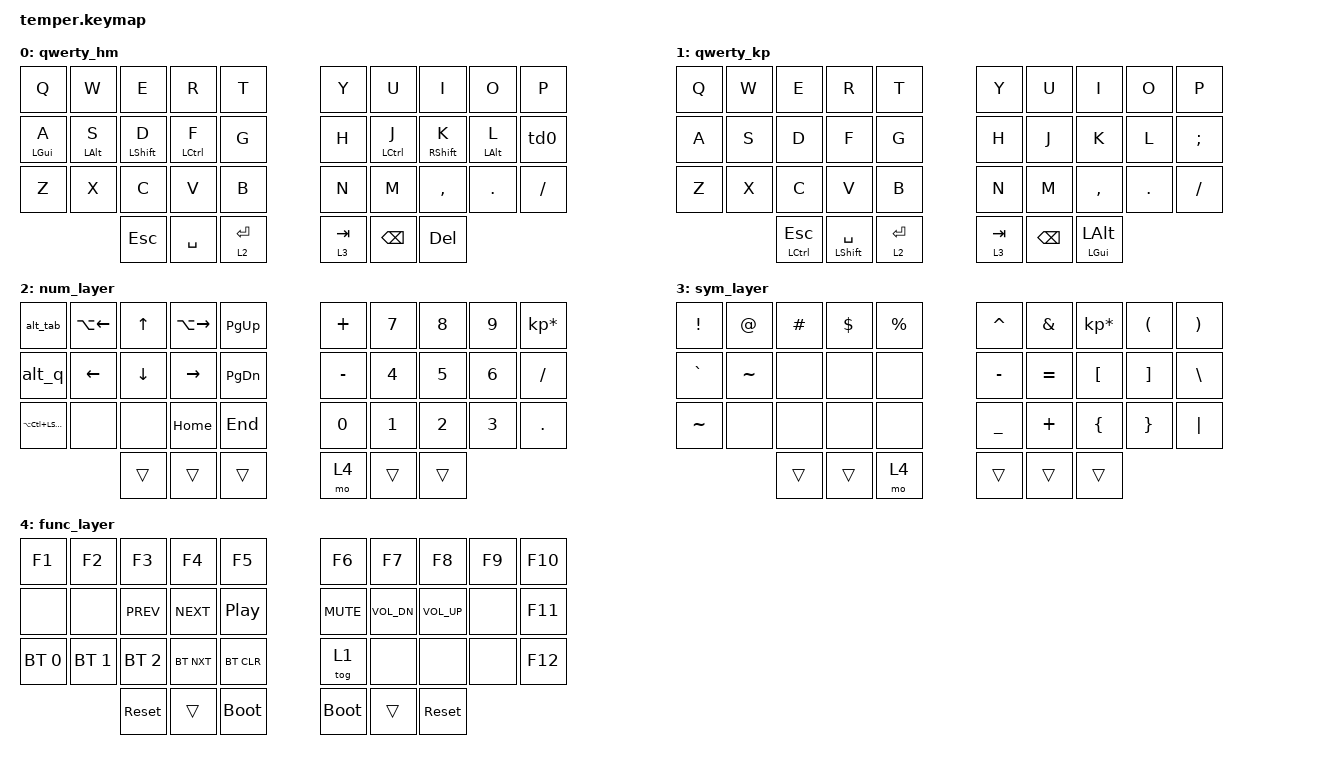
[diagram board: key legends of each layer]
/*
 * Copyright (c) 2020 The ZMK Contributors
 *
 * SPDX-License-Identifier: MIT
 */

#include <behaviors.dtsi>
#include <dt-bindings/zmk/bt.h>
#include <dt-bindings/zmk/keys.h>

// LAYERS

#define DEFAULT 0
#define NUM     1
#define SYM     2
#define FUNC    3

// MACROS

#define SUPER LC(LSHIFT)
#define SUPER2 LA(LC(LSHIFT))

&mt {
    tapping-term-ms = <200>;
    flavor = "tap-preferred";
};

/ {
    behaviors {
        hm: homerow_mods {
            compatible = "zmk,behavior-hold-tap";
            label = "HOMEROW_MODS";
            #binding-cells = <2>;
            tapping-term-ms = <200>;
            quick-tap-ms = <0>;
            flavor = "tap-preferred";
            bindings = <&kp>, <&kp>;
        };

        td0: tap_dance_0 {
            compatible = "zmk,behavior-tap-dance";
            label = "TAP_DANCE_0";
            #binding-cells = <0>;
            tapping-term-ms = <300>;
            bindings = <&hm RGUI SEMI>, <&kp SQT>;
        };

        td1: tap_dance_1 {
            compatible = "zmk,behavior-tap-dance";
            label = "TAP_DANCE_1";
            #binding-cells = <0>;
            tapping-term-ms = <200>;
            bindings = <&mt LCTRL TAB>, <&kp ESC>;
        };

        sk_kp: sk_kp {
            compatible = "zmk,behavior-hold-tap";
            label = "SK_KP";
            bindings = <&kp>, <&sk>;

            #binding-cells = <2>;
            tapping-term-ms = <200>;
        };
    };

    combos {
        compatible = "zmk,combos";

        combo_cword {
            timeout-ms = <50>;
            key-positions = <19 16>;
            bindings = <&caps_word>;
        };

        combo_soft_off {
            timeout-ms = <50>;
            key-positions = <1 2>;
            bindings = <&soft_off>;
        };
    };

    macros {
        alt_tab: alt_tab {
            compatible = "zmk,behavior-macro";
            #binding-cells = <0>;
            bindings = <&kp LA(TAB)>;
            label = "ALT_TAB";
        };

        alt_q: alt_q {
            compatible = "zmk,behavior-macro";
            #binding-cells = <0>;
            bindings = <&kp LA(Q)>;
            label = "ALT_Q";
        };
    };

    keymap {
        compatible = "zmk,keymap";

        qwerty_hm {
            bindings = <
&kp Q           &kp W           &kp E         &kp R        &kp T    &kp Y  &kp U        &kp I              &kp O          &kp P
&hm LEFT_GUI A  &hm LEFT_ALT S  &hm LSHIFT D  &hm LCTRL F  &kp G    &kp H  &hm LCTRL J  &hm RIGHT_SHIFT K  &hm LALT L     &td0
&kp Z           &kp X           &kp C         &kp V        &kp B    &kp N  &kp M        &kp COMMA          &kp DOT        &kp FSLH
&kp ESCAPE      &kp SPACE       &lt 2 RET                                               &lt 3 TAB          &kp BACKSPACE  &kp DEL
            >;
        };

        qwerty_kp {
            bindings = <
&kp Q             &kp W                 &kp E      &kp R  &kp T    &kp Y  &kp U  &kp I      &kp O          &kp P
&kp A             &kp S                 &kp D      &kp F  &kp G    &kp H  &kp J  &kp K      &kp L          &kp SEMICOLON
&kp Z             &kp X                 &kp C      &kp V  &kp B    &kp N  &kp M  &kp COMMA  &kp DOT        &kp FSLH
&mt LCTRL ESCAPE  &mt LEFT_SHIFT SPACE  &lt 2 RET                                &lt 3 TAB  &kp BACKSPACE  &sk_kp LEFT_GUI LEFT_ALT
            >;
        };

        num_layer {
            bindings = <
&alt_tab    &kp LA(LEFT)  &kp UP    &kp LA(RIGHT)  &kp PG_UP    &kp PLUS   &kp N7  &kp N8  &kp N9  &kp KP_MULTIPLY
&alt_q      &kp LEFT      &kp DOWN  &kp RIGHT      &kp PG_DN    &kp MINUS  &kp N4  &kp N5  &kp N6  &kp SLASH
&kp SUPER2  &none         &none     &kp HOME       &kp END      &kp N0     &kp N1  &kp N2  &kp N3  &kp DOT
&trans      &trans        &trans                                                   &mo 4   &trans  &trans
            >;
        };

        sym_layer {
            bindings = <
&kp EXCL   &kp AT     &kp HASH  &kp DLLR  &kp PRCNT    &kp CARET  &kp AMPS   &kp KP_MULTIPLY  &kp LPAR  &kp RPAR
&kp GRAVE  &kp TILDE  &none     &none     &none        &kp MINUS  &kp EQUAL  &kp LBKT         &kp RBKT  &kp BSLH
&kp TILDE  &none      &none     &none     &none        &kp UNDER  &kp PLUS   &kp LBRC         &kp RBRC  &kp PIPE
&trans     &trans     &mo 4                                                  &trans           &trans    &trans
            >;
        };

        func_layer {
            bindings = <
&kp F1        &kp F2        &kp F3        &kp F4      &kp F5              &kp F6      &kp F7        &kp F8        &kp F9  &kp F10
&none         &none         &kp C_PREV    &kp C_NEXT  &kp C_PLAY_PAUSE    &kp C_MUTE  &kp C_VOL_DN  &kp C_VOL_UP  &none   &kp F11
&bt BT_SEL 0  &bt BT_SEL 1  &bt BT_SEL 2  &bt BT_NXT  &bt BT_CLR          &tog 1      &none         &none         &none   &kp F12
&sys_reset    &trans        &bootloader                                                             &bootloader   &trans  &sys_reset
            >;
        };
    };

    conditional_layers { compatible = "zmk,conditional-layers"; };
};
